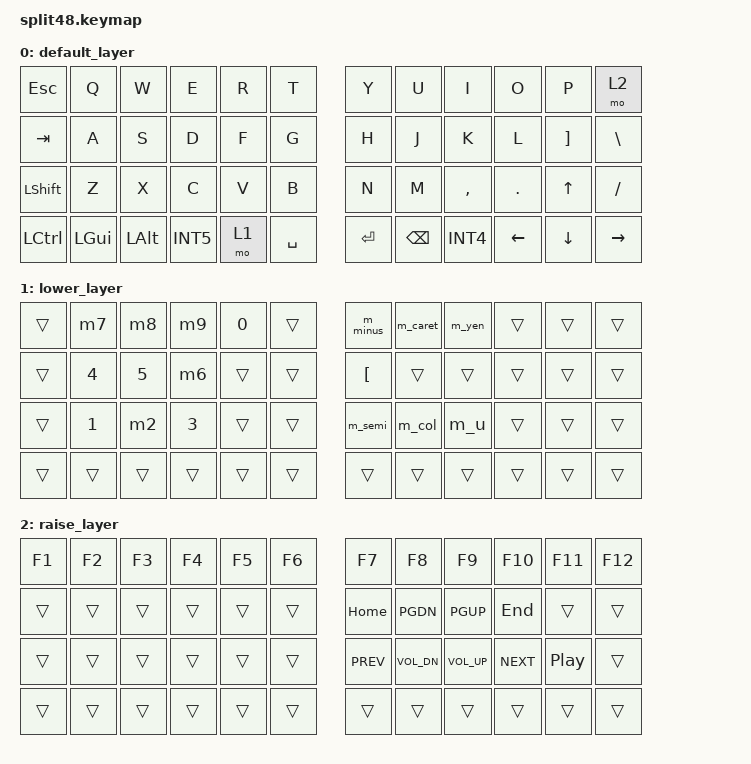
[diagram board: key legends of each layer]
// This file was generated from a template. Edit it to match your keyboard.
#include <behaviors.dtsi>
#include <dt-bindings/zmk/keys.h>

#define JP_DQUOTE      AT               // "
#define JP_AMPERSAND   CARET            // &
#define JP_QUOTE       AMPERSAND        // '
#define JP_EQUAL       UNDER            // =
#define JP_CARET       EQUAL            // ^
#define JP_YEN         INT3             // ¥ (0x89)
#define JP_PLUS        COLON            // +
#define JP_TILDE       LS(EQUAL)        // ~
#define JP_PIPE        LS(INT3)         // |
#define JP_AT          LEFT_BRACKET     // @
#define JP_COLON       SINGLE_QUOTE     // :
#define JP_ASTERISK    LS(SINGLE_QUOTE) // *
#define JP_BACKQUOTE   LS(LEFT_BRACKET) // `
#define JP_UNDERSCORE  INT1             // _ (0x87)
#define JP_LBRACKET    RIGHT_BRACKET    // [
#define JP_RBRACKET    BACKSLASH        // ]
#define JP_LPAREN      LS(N8)           // (
#define JP_RPAREN      LS(N9)           // )
#define JP_MINUS       MINUS            // - (長音)

/ {
    behaviors {
        m2: m2 { compatible = "zmk,behavior-mod-morph"; #binding-cells = <0>; bindings = <&kp N2>, <&kp JP_DQUOTE>;  mods = <(MOD_LSFT|MOD_RSFT)>; };
        m6: m6 { compatible = "zmk,behavior-mod-morph"; #binding-cells = <0>; bindings = <&kp N6>, <&kp JP_AMPERSAND>;  mods = <(MOD_LSFT|MOD_RSFT)>; };
        m7: m7 { compatible = "zmk,behavior-mod-morph"; #binding-cells = <0>; bindings = <&kp N7>, <&kp JP_QUOTE>;  mods = <(MOD_LSFT|MOD_RSFT)>; };
        m8: m8 { compatible = "zmk,behavior-mod-morph"; #binding-cells = <0>; bindings = <&kp N8>, <&kp JP_LPAREN>;  mods = <(MOD_LSFT|MOD_RSFT)>; };
        m9: m9 { compatible = "zmk,behavior-mod-morph"; #binding-cells = <0>; bindings = <&kp N9>, <&kp JP_RPAREN>;  mods = <(MOD_LSFT|MOD_RSFT)>; };
        m_semi: m_semi { compatible = "zmk,behavior-mod-morph"; #binding-cells = <0>; bindings = <&kp SEMI>, <&kp JP_PLUS>; mods = <(MOD_LSFT|MOD_RSFT)>; };
        m_col: m_col { compatible = "zmk,behavior-mod-morph"; #binding-cells = <0>; bindings = <&kp JP_COLON>, <&kp JP_ASTERISK>; mods = <(MOD_LSFT|MOD_RSFT)>; };
        m_caret: m_caret { compatible = "zmk,behavior-mod-morph"; #binding-cells = <0>; bindings = <&kp JP_CARET>, <&kp JP_TILDE>; mods = <(MOD_LSFT|MOD_RSFT)>; };
        m_yen: m_yen { compatible = "zmk,behavior-mod-morph"; #binding-cells = <0>; bindings = <&kp JP_YEN>, <&kp JP_PIPE>; mods = <(MOD_LSFT|MOD_RSFT)>; };
        m_minus: m_minus { compatible = "zmk,behavior-mod-morph"; #binding-cells = <0>; bindings = <&kp JP_MINUS>, <&kp JP_EQUAL>; mods = <(MOD_LSFT|MOD_RSFT)>; };
        m_u: m_u { compatible = "zmk,behavior-mod-morph"; #binding-cells = <0>; bindings = <&kp JP_UNDERSCORE>, <&kp JP_YEN>; mods = <(MOD_LSFT|MOD_RSFT)>; };
    };

    keymap {
        compatible = "zmk,keymap";

        default_layer {
            bindings = <
                &kp ESC   &kp Q    &kp W    &kp E    &kp R &kp T           &kp Y    &kp U    &kp I      &kp O    &kp P           &mo 2 
                &kp TAB   &kp A    &kp S    &kp D    &kp F &kp G           &kp H    &kp J    &kp K      &kp L    &kp JP_LBRACKET &kp JP_RBRACKET
                &kp LSHFT &kp Z    &kp X    &kp C    &kp V &kp B           &kp N    &kp M    &kp COMMA  &kp DOT  &kp UP          &kp FSLH 
                &kp LCTRL &kp LGUI &kp LALT &kp INT5 &mo 1 &kp SPACE       &kp RET  &kp BSPC &kp INT4   &kp LEFT &kp DOWN        &kp RIGHT
            >;
        };

        // レイヤー1 (数字・記号・テンキー)
        lower_layer {
            bindings = <
                &trans &m7    &m8    &m9    &kp N0 &trans          &m_minus  &m_caret &m_yen &trans &trans &trans
                &trans &kp N4 &kp N5 &m6    &trans &trans          &kp JP_AT &trans   &trans &trans &trans &trans
                &trans &kp N1 &m2    &kp N3 &trans &trans          &m_semi   &m_col   &m_u &trans &trans &trans
                &trans &trans &trans &trans &trans &trans          &trans    &trans   &trans &trans &trans &trans
            >;
        };

        // レイヤー2 (ファンクション・メディア)
        raise_layer {
            bindings = <
                &kp F1 &kp F2 &kp F3 &kp F4 &kp F5 &kp F6          &kp F7 &kp F8 &kp F9 &kp F10 &kp F11 &kp F12
                &trans &trans &trans &trans &trans &trans          &kp HOME &kp PGDN &kp PGUP &kp END &trans &trans
                &trans &trans &trans &trans &trans &trans          &kp C_PREV &kp C_VOL_DN &kp C_VOL_UP &kp C_NEXT &kp C_PP &trans
                &trans &trans &trans &trans &trans &trans          &trans &trans &trans &trans &trans &trans
            >;
        };
    };
};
